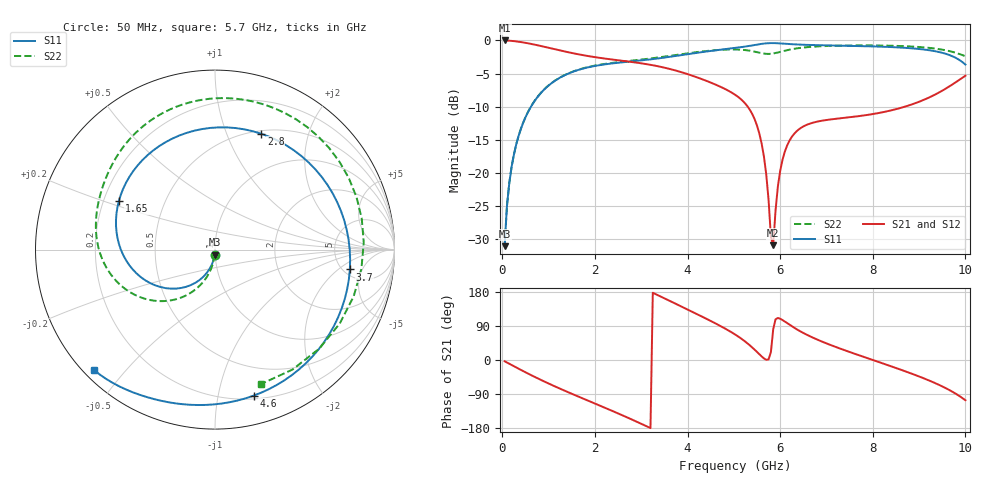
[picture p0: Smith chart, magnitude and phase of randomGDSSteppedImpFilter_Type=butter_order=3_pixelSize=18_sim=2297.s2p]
! freq	dB(S11)	phase(S11)	dB(S12)	phase(S12)
!  dB(S21)	phase(S21)	dB(S22)	phase(S22)
!S-par simulation data
#  GHz  S  DB  R 50
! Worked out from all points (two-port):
!   200 points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, 50 MHz to 10 GHz, reference 50 ohm
!   highest |S21| = 0.00 dB at 50 MHz (marker M1); lowest = -30.9 dB at 5.85 GHz (marker M2)
!   |S21| within 3 dB of the highest: start of sweep to 2.514 GHz
!   lowest |S11| = -31.0 dB at 50 MHz (marker M3), VSWR 1.06, Z = 49.7 - j2.78 ohm
!   |S11| at or under -10 dB: start of sweep to 619.7 MHz
!   |S22| runs from -31.0 to -0.7 dB; largest |S21 - S12| = 0
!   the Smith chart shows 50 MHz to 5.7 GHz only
!   S11 on the Smith chart (normalised r, x): 50 MHz: 0.99, -0.06; 1.65 GHz: 0.26, +0.22; 2.8 GHz: 0.53, +1.34; 3.7 GHz: 5.72, -2.98; 4.6 GHz: 0.23, -1.27; 5.7 GHz: 0.03, -0.41
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0.05  -31.05 -94.0  -0.00 -3.3  -0.00 -3.3  -31.01 -93.1
0.2  -19.12 -105.6  -0.07 -13.2  -0.07 -13.2  -19.11 -101.7
0.45  -12.44 -124.2  -0.30 -29.2  -0.30 -29.2  -12.42 -115.2
1  -6.80 -163.1  -1.11 -62.1  -1.11 -62.1  -6.78 -142.2
1.65  -4.43 153.2  -2.10 -96.9  -2.10 -96.9  -4.40 -168.0
1.75  -4.24 146.4  -2.23 -102.0  -2.23 -102.0  -4.19 -171.6
2.35  -3.49 103.7  -2.86 -133.0  -2.86 -133.0  -3.41 169.3
2.8  -3.16 68.2  -3.26 -157.2  -3.26 -157.2  -3.05 156.5
3.4  -2.69 17.1  -3.95 168.7  -3.95 168.7  -2.54 139.3
3.7  -2.39 -8.3  -4.46 151.0  -4.46 151.0  -2.24 129.6
4.6  -1.50 -75.2  -6.65 96.8  -6.65 96.8  -1.48 88.9
5.05  -1.11 -101.6  -8.31 65.5  -8.31 65.5  -1.37 53.1
5.45  -0.69 -122.3  -11.90 27.1  -11.90 27.1  -1.69 -7.5
5.7  -0.44 -135.3  -20.23 0.6  -20.23 0.6  -2.02 -71.3
5.85  -0.40 -143.2  -30.92 81.0  -30.92 81.0  -1.97 -113.6
5.95  -0.43 -148.2  -22.08 110.9  -22.08 110.9  -1.82 -139.0
6.15  -0.52 -157.2  -15.87 97.3  -15.87 97.3  -1.47 -179.0
6.7  -0.70 -179.0  -12.43 59.4  -12.43 59.4  -0.95 120.0
7.4  -0.80 155.1  -11.67 25.4  -11.67 25.4  -0.77 77.9
8.35  -0.99 118.7  -10.63 -14.6  -10.63 -14.6  -0.79 34.9
9.35  -1.63 69.1  -8.16 -61.1  -8.16 -61.1  -1.23 -6.2
10  -3.64 7.3  -5.33 -106.2  -5.33 -106.2  -2.39 -30.2
